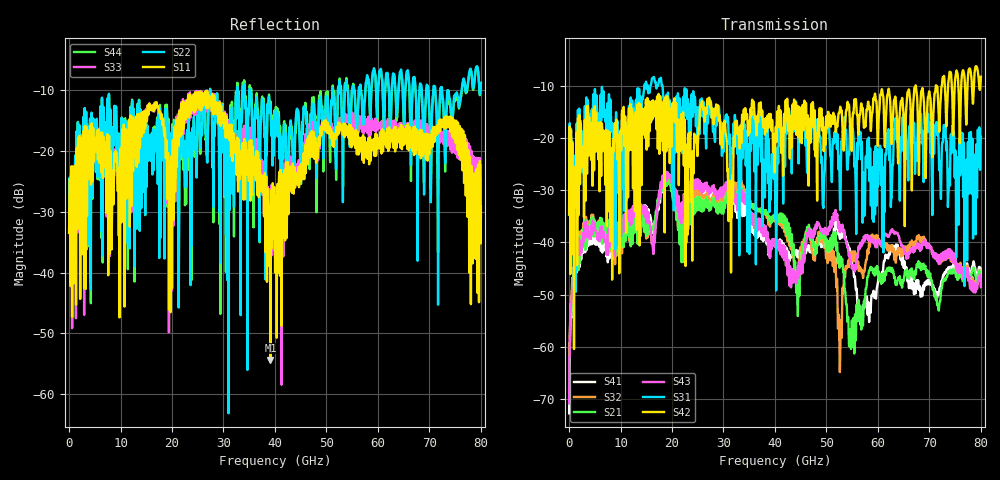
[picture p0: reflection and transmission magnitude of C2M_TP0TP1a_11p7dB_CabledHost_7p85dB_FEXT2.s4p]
!! Reference: shanbhag_3dj_03_2305.pdf
!! CHANNEL DESCRIPTION: TP0_TP1a C2M Channel, Cabled Host
!! MODEL DESCRIPTION: s4p, FEXT2
!! CONNECTOR DESCRIPTION: OSFP 200G OTB
!! MODEL STATUS: Developmental
!! PORT DEFINITIONS:
!! Port  1  ----->  Side A  Side B  <-----  Port  2
!! Port  3  ----->  Side A  Side B  <-----  Port  4
# HZ S MA R 50.000000
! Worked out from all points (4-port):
!   8000 points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, 10 MHz to 80 GHz, reference 50 ohm
!   strongest paths, dB at 10 MHz, 20.01 GHz, 40.01 GHz, 60.01 GHz, 80 GHz:
!     S42: -34.6, -16.2, -23.9, -20.9, -8.1
!     S31: -34.7, -29.7, -27.8, -25.7, -19.7
!     S43: -70.9, -28.6, -40.7, -39.8, -48.6
!     S21: -70.9, -29.8, -35.3, -46.4, -47.2
!     S32: -68.7, -29.2, -35.8, -39.3, -47.7
!     S41: -72.8, -29.2, -40.5, -47.5, -45.9
!   lowest |S11| = -54.4 dB at 39.12 GHz (marker M1), VSWR 1.00, Z = 50.1 - j0.124 ohm
!   |S11| at or under -10 dB: start of sweep to end of sweep
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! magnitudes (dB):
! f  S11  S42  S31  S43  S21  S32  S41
! 10 MHz  -33.5  -34.6  -34.7  -70.9  -70.9  -68.7  -72.8
! 2.99 GHz  -19.6  -19.8  -16.1  -36.4  -35.8  -35.2  -38.0
! 18.51 GHz  -17.2  -17.6  -12.8  -26.5  -27.5  -27.1  -27.1
! 31.3 GHz  -15.7  -28.5  -27.6  -30.4  -32.0  -30.4  -31.8
! 39.12 GHz  -54.4  -15.4  -31.0  -40.1  -36.0  -36.2  -41.0
! 54.74 GHz  -16.1  -19.7  -19.1  -43.8  -60.2  -43.3  -42.4
! 80 GHz  -29.2  -8.1  -19.7  -48.6  -47.2  -47.7  -45.9
